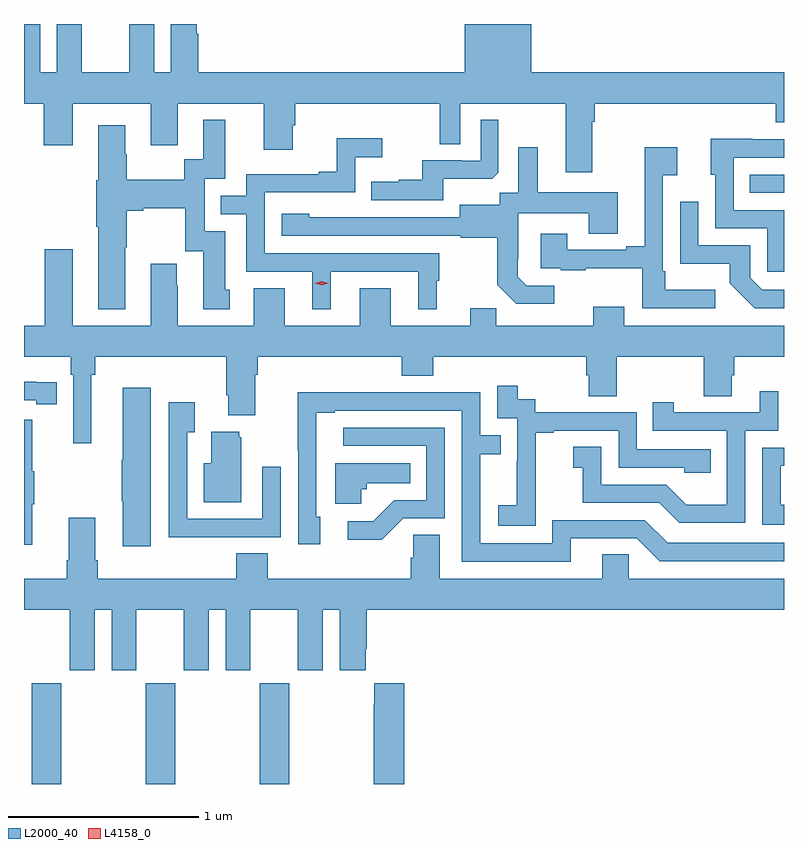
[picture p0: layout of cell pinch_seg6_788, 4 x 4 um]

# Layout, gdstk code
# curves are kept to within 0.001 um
import gdstk
lib = gdstk.Library(unit=1e-6, precision=1e-09)
def R(c, l, rs):  # rectangles x0, y0, x1, y1
    for r in rs: c.add(gdstk.rectangle(r[:2], r[2:], *l))
def A(c, l, x, y, w, h, nx, ny, dx, dy):  # array of equal rectangles
    R(c, l, [(x+i*dx, y+j*dy, x+i*dx+w, y+j*dy+h) for i in range(nx) for j in range(ny)])
def P(c, l, *ps):  # polygons
    for p in ps: c.add(gdstk.Polygon(p, *l))
L2000_40 = (2000, 40)
L4158_0 = (4158, 0)

pinch_seg6_788 = lib.new_cell('pinch_seg6_788')
A(pinch_seg6_788, L2000_40, 238.339, 965.067, 0.155, 0.529, 3, 1, 0.6, 0)
R(pinch_seg6_788, L2000_40, [(242.119,968.178,242.299,968.274)])
P(pinch_seg6_788, L2000_40, [(240.97,969.067),(240.62,969.067),(240.62,968.812),(239.216,968.812),(239.216,969.017),(239.209,969.017),(239.209,969.067),(239.072,969.067),(239.072,968.812),(238.984,968.812),(238.984,969.067),(238.853,969.067),(238.853,968.812),(238.603,968.812),(238.603,969.067),(238.472,969.067),(238.472,968.812),(238.384,968.812),(238.384,969.067),(238.299,969.067),(238.299,968.648),(238.403,968.648),(238.403,968.43),(238.555,968.43),(238.555,968.648),(238.967,968.648),(238.967,968.43),(239.107,968.43),(239.107,968.648),(239.561,968.648),(239.561,968.406),(239.713,968.406),(239.713,968.535),(239.726,968.535),(239.726,968.648),(240.486,968.648),(240.486,968.434),(240.594,968.434),(240.594,968.648),(241.151,968.648),(241.151,968.286),(241.291,968.286),(241.291,968.552),(241.304,968.552),(241.304,968.648),(242.255,968.648),(242.255,968.549),(242.299,968.549),(242.299,968.812),(240.97,968.812)],
  [(240.505,968.252),(240.763,968.252),(240.795,968.283),(240.795,968.563),(240.702,968.563),(240.702,968.346),(240.602,968.346),(240.602,968.349),(240.395,968.349),(240.395,968.248),(240.271,968.248),(240.271,968.236),(240.127,968.236),(240.127,968.139),(240.505,968.139)],
  [(238.831,967.891),(238.839,967.891),(238.839,968.084),(238.927,968.084),(238.927,968.096),(239.147,968.096),(239.147,967.872),(239.243,967.872),(239.243,967.566),(239.383,967.566),(239.383,967.668),(239.359,967.668),(239.359,967.977),(239.25,967.977),(239.25,968.253),(239.359,968.253),(239.359,968.563),(239.243,968.563),(239.243,968.354),(239.142,968.354),(239.142,968.248),(238.839,968.248),(238.839,968.382),(238.831,968.382),(238.831,968.533),(238.691,968.533),(238.691,968.244),(238.679,968.244),(238.679,968),(238.691,968),(238.691,967.565),(238.831,967.565)],
  [(239.914,967.764),(240.374,967.764),(240.374,967.565),(240.472,967.565),(240.472,967.716),(240.484,967.716),(240.484,967.86),(239.565,967.86),(239.565,968.181),(240.042,968.181),(240.042,968.366),(240.184,968.366),(240.184,968.465),(239.944,968.465),(239.944,968.29),(239.849,968.29),(239.849,968.277),(239.469,968.277),(239.469,968.163),(239.335,968.163),(239.335,968.067),(239.469,968.067),(239.469,967.764),(239.816,967.764),(239.816,967.565),(239.914,967.565)],
  [(242.299,968.088),(242.034,968.088),(242.034,968.364),(242.299,968.364),(242.299,968.46),(242.131,968.46),(242.131,968.462),(241.913,968.462),(241.913,968.274),(241.938,968.274),(241.938,967.992),(242.211,967.992),(242.211,967.764),(242.299,967.764)],
  [(241.09,967.689),(240.945,967.689),(240.898,967.736),(240.898,967.831),(240.9,967.831),(240.9,968.072),(241.271,968.072),(241.271,967.963),(241.423,967.963),(241.423,968.182),(241.003,968.182),(241.003,968.419),(240.899,968.419),(240.899,968.18),(240.804,968.18),(240.804,968.116),(240.593,968.116),(240.593,968.049),(239.799,968.05),(239.799,968.068),(239.655,968.068),(239.655,967.953),(240.597,967.953),(240.597,967.941),(240.789,967.941),(240.789,967.695),(240.889,967.595),(241.09,967.595)],
  [(241.936,967.669),(241.675,967.669),(241.675,967.765),(241.662,967.765),(241.662,968.27),(241.738,968.27),(241.738,968.419),(241.565,968.419),(241.565,967.897),(241.469,967.897),(241.469,967.878),(241.159,967.878),(241.159,967.963),(241.019,967.963),(241.019,967.782),(241.123,967.782),(241.123,967.77),(241.255,967.77),(241.255,967.781),(241.554,967.781),(241.554,967.572),(241.936,967.572)],
  [(242.299,967.668),(242.184,967.668),(242.121,967.731),(242.121,967.902),(241.848,967.902),(241.848,968.131),(241.752,968.131),(241.752,967.805),(242.014,967.805),(242.014,967.703),(242.144,967.572),(242.299,967.572)],
  [(238.654,967.22),(238.673,967.22),(238.673,967.316),(239.363,967.316),(239.363,967.114),(239.375,967.114),(239.375,967.007),(239.515,967.007),(239.515,967.22),(239.528,967.22),(239.528,967.316),(240.287,967.316),(240.287,967.217),(240.452,967.217),(240.452,967.316),(241.259,967.316),(241.259,967.218),(241.271,967.218),(241.271,967.108),(241.419,967.108),(241.419,967.316),(241.876,967.316),(241.876,967.108),(242.023,967.108),(242.023,967.218),(242.036,967.218),(242.036,967.316),(242.299,967.316),(242.299,967.48),(241.459,967.48),(241.459,967.579),(241.295,967.579),(241.295,967.48),(240.785,967.48),(240.785,967.571),(240.647,967.571),(240.647,967.48),(240.229,967.48),(240.229,967.675),(240.065,967.675),(240.065,967.48),(239.671,967.48),(239.671,967.675),(239.507,967.675),(239.507,967.48),(239.107,967.48),(239.107,967.691),(239.104,967.691),(239.104,967.804),(238.967,967.804),(238.967,967.48),(238.555,967.48),(238.555,967.882),(238.408,967.882),(238.408,967.48),(238.299,967.48),(238.299,967.316),(238.544,967.316),(238.544,967.22),(238.557,967.22),(238.557,966.861),(238.654,966.861)],
  [(238.472,967.182),(238.364,967.182),(238.364,967.183),(238.299,967.183),(238.299,967.086),(238.364,967.086),(238.364,967.066),(238.472,967.066)],
  [(240.993,966.631),(240.992,966.631),(240.992,966.915),(241.087,966.915),(241.087,966.927),(241.428,966.927),(241.428,966.732),(241.773,966.732),(241.773,966.705),(241.913,966.705),(241.913,966.828),(241.524,966.828),(241.524,967.023),(240.99,967.023),(240.99,967.092),(240.898,967.092),(240.898,967.162),(240.789,967.162),(240.789,966.993),(240.894,966.993),(240.894,966.764),(240.893,966.764),(240.893,966.535),(240.795,966.535),(240.795,966.425),(240.993,966.425)],
  [(238.966,967.153),(238.82,967.153),(238.82,966.773),(238.813,966.773),(238.813,966.556),(238.82,966.556),(238.82,966.318),(238.966,966.318)],
  [(242.094,966.927),(242.268,966.927),(242.268,967.135),(242.171,967.135),(242.171,967.023),(241.72,967.023),(241.72,967.075),(241.609,967.075),(241.609,966.927),(241.998,966.927),(241.998,966.538),(241.784,966.538),(241.68,966.642),(241.338,966.642),(241.338,966.841),(241.191,966.841),(241.191,966.731),(241.24,966.731),(241.24,966.546),(241.643,966.546),(241.748,966.441),(242.094,966.441)],
  [(241.177,966.36),(241.524,966.36),(241.644,966.24),(242.299,966.24),(242.299,966.336),(241.686,966.336),(241.566,966.456),(241.08,966.456),(241.08,966.333),(240.699,966.333),(240.699,966.802),(240.809,966.802),(240.809,966.903),(240.699,966.903),(240.699,967.128),(240.203,967.128),(240.203,967.13),(239.74,967.13),(239.74,966.823),(239.742,966.823),(239.742,966.33),(239.857,966.33),(239.857,966.474),(239.838,966.474),(239.838,967.02),(239.935,967.02),(239.935,967.032),(240.603,967.032),(240.603,966.237),(241.177,966.237)],
  [(239.333,966.366),(239.649,966.366),(239.649,966.736),(239.553,966.736),(239.553,966.462),(239.157,966.462),(239.157,966.919),(239.197,966.919),(239.197,967.075),(239.061,967.075),(239.061,966.365),(239.333,966.365)],
  [(238.343,966.539),(238.354,966.539),(238.354,966.713),(238.343,966.713),(238.343,966.985),(238.299,966.985),(238.299,966.327),(238.343,966.327)],
  [(240.294,966.465),(240.513,966.465),(240.513,966.942),(239.979,966.942),(239.979,966.846),(240.417,966.846),(240.417,966.561),(240.248,966.561),(240.137,966.45),(240.003,966.45),(240.003,966.353),(240.181,966.353)],
  [(239.443,966.891),(239.432,966.891),(239.432,966.922),(239.285,966.922),(239.285,966.754),(239.246,966.754),(239.246,966.551),(239.443,966.551)],
  [(242.299,966.537),(242.281,966.537),(242.281,966.741),(242.299,966.741),(242.299,966.837),(242.184,966.837),(242.184,966.432),(242.299,966.432)],
  [(240.075,966.618),(240.102,966.618),(240.102,966.65),(240.332,966.65),(240.332,966.754),(239.936,966.754),(239.936,966.542),(240.075,966.542)],
  [(238.672,965.984),(238.76,965.984),(238.76,965.667),(238.891,965.667),(238.891,965.984),(239.141,965.984),(239.141,965.667),(239.272,965.667),(239.272,965.984),(239.36,965.984),(239.36,965.667),(239.491,965.667),(239.491,965.984),(239.741,965.984),(239.741,965.667),(239.872,965.667),(239.872,965.984),(239.96,965.984),(239.96,965.667),(240.097,965.667),(240.097,965.779),(240.104,965.779),(240.104,965.984),(242.299,965.984),(242.299,966.148),(241.482,966.148),(241.482,966.275),(241.343,966.275),(241.343,966.148),(240.487,966.148),(240.487,966.38),(240.348,966.38),(240.348,966.257),(240.335,966.257),(240.335,966.148),(239.582,966.148),(239.582,966.281),(239.417,966.281),(239.417,966.148),(238.688,966.148),(238.688,966.244),(238.675,966.244),(238.675,966.469),(238.535,966.469),(238.535,966.244),(238.523,966.244),(238.523,966.148),(238.299,966.148),(238.299,965.984),(238.541,965.984),(238.541,965.667),(238.672,965.667)],
  [(240.299,965.596),(240.143,965.596),(240.143,965.483),(240.139,965.483),(240.139,965.067),(240.299,965.067)])
P(pinch_seg6_788, L4158_0, [(239.865,967.692),(239.829,967.702),(239.829,967.702),(239.829,967.702),(239.865,967.712),(239.901,967.702),(239.901,967.702),(239.901,967.702)])

lib.write_gds('pinch_seg6_788.gds')
